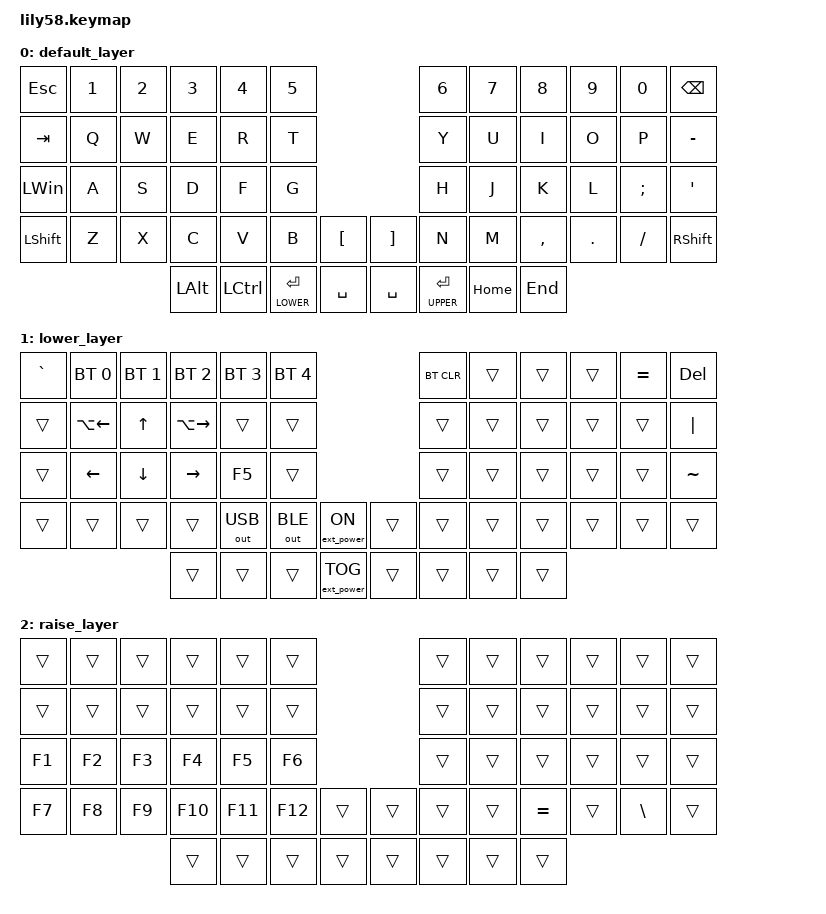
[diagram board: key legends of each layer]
/*
 * Copyright (c) 2020 The ZMK Contributors
 *
 * SPDX-License-Identifier: MIT
 */

#include <behaviors.dtsi>
#include <dt-bindings/zmk/bt.h>
#include <dt-bindings/zmk/ext_power.h>
#include <dt-bindings/zmk/keys.h>
#include <dt-bindings/zmk/outputs.h>

#define DEFAULT 0
#define LOWER   1
#define UPPER   2

/ {
    keymap {
        compatible = "zmk,keymap";

        default_layer {

            bindings = <
&kp ESC    &kp N1  &kp N2  &kp N3    &kp N4     &kp N5                                 &kp N6         &kp N7    &kp N8     &kp N9   &kp N0    &kp BSPC
&kp TAB    &kp Q   &kp W   &kp E     &kp R      &kp T                                  &kp Y          &kp U     &kp I      &kp O    &kp P     &kp MINUS
&kp LWIN   &kp A   &kp S   &kp D     &kp F      &kp G                                  &kp H          &kp J     &kp K      &kp L    &kp SEMI  &kp SQT
&kp LSHFT  &kp Z   &kp X   &kp C     &kp V      &kp B          &kp LBKT     &kp RBKT   &kp N          &kp M     &kp COMMA  &kp DOT  &kp FSLH  &kp RSHFT
                           &kp LALT  &kp LCTRL  &lt LOWER RET  &kp SPACE    &kp SPACE  &lt UPPER RET  &kp HOME  &kp END
            >;
        };

        lower_layer {

            bindings = <
&kp GRAVE  &bt BT_SEL 0  &bt BT_SEL 1  &bt BT_SEL 2   &bt BT_SEL 3  &bt BT_SEL 4                               &bt BT_CLR  &trans  &trans  &trans  &kp EQUAL  &kp DEL
&trans     &kp LA(LEFT)  &kp UP        &kp LA(RIGHT)  &trans        &trans                                     &trans      &trans  &trans  &trans  &trans     &kp PIPE
&trans     &kp LEFT      &kp DOWN      &kp RIGHT      &kp F5        &trans                                     &trans      &trans  &trans  &trans  &trans     &kp TILDE
&trans     &trans        &trans        &trans         &out OUT_USB  &out OUT_BLE  &ext_power EP_ON     &trans  &trans      &trans  &trans  &trans  &trans     &trans
                                       &trans         &trans        &trans        &ext_power EP_TOG    &trans  &trans      &trans  &trans
            >;
        };

        raise_layer {

            bindings = <
&trans  &trans  &trans  &trans   &trans   &trans                     &trans  &trans  &trans     &trans  &trans    &trans
&trans  &trans  &trans  &trans   &trans   &trans                     &trans  &trans  &trans     &trans  &trans    &trans
&kp F1  &kp F2  &kp F3  &kp F4   &kp F5   &kp F6                     &trans  &trans  &trans     &trans  &trans    &trans
&kp F7  &kp F8  &kp F9  &kp F10  &kp F11  &kp F12  &trans    &trans  &trans  &trans  &kp EQUAL  &trans  &kp BSLH  &trans
                        &trans   &trans   &trans   &trans    &trans  &trans  &trans  &trans
            >;
        };
    };
};
